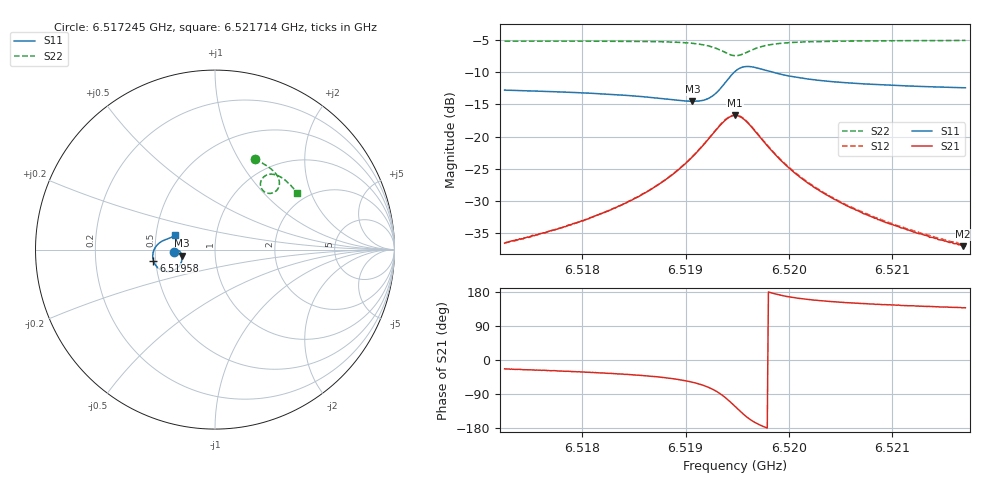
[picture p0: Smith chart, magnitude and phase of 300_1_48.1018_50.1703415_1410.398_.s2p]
#  HZ  S  RI  R  50.00
! Rohde & Schwarz Vector Network Analyzer
! Rohde-Schwarz,ZNB20-2Port,1311601062101988,3.16
! Created: UTC 12/23/2023, 4:04:39 AM
! freq[Hz]  re:S11  im:S11  re:S21  im:S21  re:S12  im:S12  re:S22  im:S22
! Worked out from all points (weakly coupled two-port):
!   401 points, 6.517245 GHz to 6.521714 GHz, reference 50 ohm
!   highest |S21| = -16.71 dB at 6.51948 GHz (marker M1); lowest = -37.0 dB at 6.521692 GHz (marker M2)
!   lowest |S11| = -14.5 dB at 6.519066 GHz (marker M3), VSWR 1.46, Z = 34.3 - j2.35 ohm
!   |S11| at or under -10 dB: start of sweep to 6.519474 GHz; 6.519839 GHz to end of sweep
!   |S22| runs from -7.5 to -5.1 dB; largest |S21 - S12| = 0.0045
!   S11 on the Smith chart (normalised r, x): 6.517245 GHz: 0.63, -0.02; 6.51958 GHz: 0.49, -0.07; 6.521714 GHz: 0.63, +0.11
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6.517245e9  -0.2288 -0.0117  0.0137 -0.00593  0.014 -0.0056  0.2206 0.5024
6.517502e9  -0.2258 -0.00811  0.0152 -0.00742  0.0153 -0.00683  0.2393 0.494
6.5179936e9  -0.2183 -0.00286  0.019 -0.0117  0.0192 -0.011  0.2757 0.4747
6.5183959e9  -0.2095 -0.00165  0.0239 -0.0182  0.0244 -0.0174  0.3057 0.4546
6.5187422e9  -0.1983 -0.00741  0.0302 -0.0303  0.0314 -0.0293  0.3328 0.4302
6.5189098e9  -0.1912 -0.0163  0.0341 -0.0415  0.0355 -0.0407  0.3458 0.413
6.5190663e9  -0.1847 -0.0331  0.0363 -0.0595  0.0384 -0.0588  0.3563 0.3904
6.5191668e9  -0.1836 -0.0519  0.0341 -0.0779  0.0366 -0.0772  0.3592 0.3698
6.5192562e9  -0.1902 -0.0766  0.0243 -0.1003  0.0275 -0.1003  0.3544 0.3465
6.5193903e9  -0.2375 -0.1182  -0.0242 -0.133  -0.0204 -0.1348  0.317 0.3144
6.5194797e9  -0.2984 -0.1143  -0.0784 -0.1232  -0.0753 -0.1264  0.2744 0.3227
6.5195244e9  -0.3249 -0.0945  -0.0996 -0.1028  -0.0975 -0.1066  0.2592 0.3403
6.5195802e9  -0.3434 -0.0612  -0.1124 -0.0719  -0.1112 -0.0757  0.2532 0.3662
6.5196919e9  -0.3407 -0.00366  -0.1036 -0.0229  -0.1039 -0.0261  0.2706 0.4042
6.5198037e9  -0.3208 0.0274  -0.0829 0.000439  -0.0838 -0.00185  0.2968 0.4181
6.5200271e9  -0.2882 0.0503  -0.0534 0.0136  -0.0544 0.0124  0.3365 0.4173
6.5202283e9  -0.2707 0.0576  -0.0387 0.0153  -0.0396 0.0142  0.3603 0.4074
6.5205746e9  -0.2528 0.0643  -0.0253 0.0139  -0.0261 0.0134  0.3904 0.3874
6.5209769e9  -0.2403 0.0699  -0.0175 0.0119  -0.0181 0.0117  0.417 0.3632
6.5213903e9  -0.2311 0.0755  -0.0129 0.0104  -0.0133 0.0103  0.44 0.3378
6.5216919e9  -0.2257 0.0795  -0.0105 0.00951  -0.0111 0.00944  0.4552 0.3191
6.5217143e9  -0.2253 0.0797  -0.0105 0.00953  -0.011 0.00936  0.4563 0.3176
